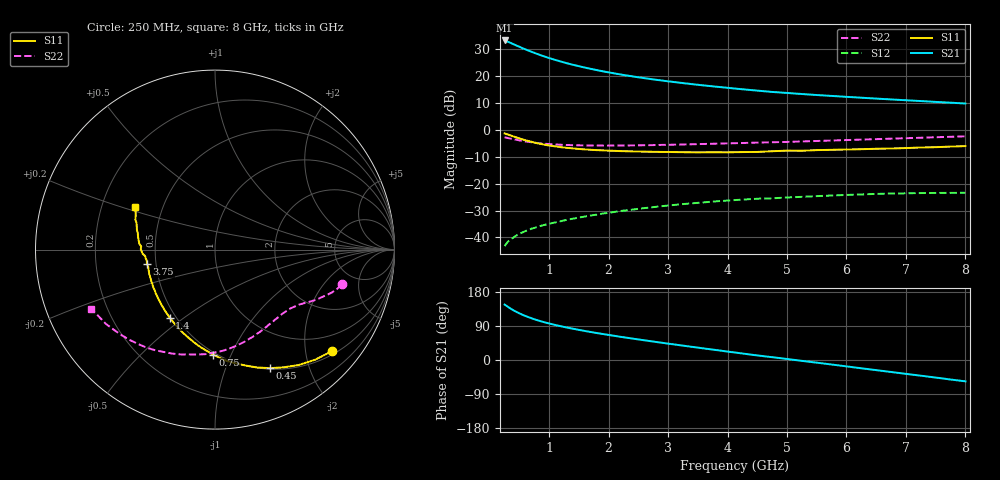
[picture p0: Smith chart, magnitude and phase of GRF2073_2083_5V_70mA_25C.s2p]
! Data measured by Modelithics, Inc.
! support@modelithics.com 813-866-6335 Tampa FL USA
# GHZ S MA R 50
! Scattering Parameters
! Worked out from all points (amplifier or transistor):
!   55 points, 250 MHz to 8 GHz, reference 50 ohm
!   highest |S21| = 33.4 dB at 250 MHz (marker M1)
!   |S21| within 3 dB of that: start of sweep to 565.4 MHz
!   unconditionally stable (mu >= 1): 3.401 GHz to 3.744 GHz; 4.05 GHz to 4.842 GHz
!   at 700 MHz: K = 0.62, MSG = 33.0 dB, |S12| = -36.7 dB
!   at 2.2 GHz: K = 0.96, MSG = 25.4 dB, |S12| = -30.1 dB
!   at 8 GHz: K = 0.76, MSG = 16.6 dB, |S12| = -23.3 dB
!   lowest NFmin = 0.02 dB at 250 MHz
!   S11 on the Smith chart (normalised r, x): 250 MHz: 0.58, -2.57; 450 MHz: 0.51, -1.44; 750 MHz: 0.48, -0.86; 1.4 GHz: 0.46, -0.44; 3.75 GHz: 0.45, -0.08; 8 GHz: 0.35, +0.22
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0.25  0.8639 -40.8  46.59 146.4  0.00689 64.7  0.7319 -15.3
0.3  0.8296 -47.6  44.29 140.8  0.00825 66.2  0.7139 -18.0
0.35  0.7949 -54.0  42 135.7  0.00921 63.0  0.6929 -20.2
0.4  0.759 -59.8  39.67 130.9  0.01 61.4  0.6728 -22.1
0.45  0.7287 -65.0  37.44 127.0  0.01093 60.1  0.6583 -23.3
0.55  0.67 -74.9  33.5 119.4  0.01239 57.4  0.6275 -26.5
0.6  0.6466 -79.3  31.86 116.1  0.01317 57.3  0.6143 -27.7
0.65  0.6256 -83.5  30.21 113.1  0.01376 55.8  0.6029 -28.7
0.75  0.5851 -91.0  27.38 107.5  0.01505 54.7  0.5823 -30.7
0.9  0.5401 -100.4  23.83 100.4  0.01693 52.9  0.5592 -33.3
1  0.5157 -106.0  21.89 96.4  0.01808 52.1  0.5491 -35.0
1.2  0.4798 -115.8  18.81 89.0  0.02014 50.2  0.5322 -38.2
1.4  0.455 -123.7  16.42 82.5  0.02243 49.6  0.523 -41.4
1.6  0.4368 -130.5  14.57 76.6  0.02455 48.4  0.5169 -44.6
1.9  0.4191 -138.8  12.43 68.7  0.02789 45.9  0.5143 -49.4
2.2  0.4056 -145.8  10.84 61.2  0.03112 43.2  0.5147 -54.5
2.9  0.3911 -157.9  8.349 45.4  0.03835 36.7  0.5296 -66.7
3.75  0.3868 -168.1  6.512 27.5  0.04654 27.3  0.5561 -81.2
4.25  0.3892 -173.2  5.752 17.2  0.05069 21.6  0.5738 -90.4
5.5  0.4233 175.5  4.49 -7.0  0.05887 7.0  0.6261 -112.2
6.75  0.4536 163.9  3.719 -31.6  0.06576 -8.7  0.6914 -133.1
8  0.5026 152.1  3.121 -56.3  0.06808 -24.6  0.7649 -154.5
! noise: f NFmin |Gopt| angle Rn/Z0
0.25  0.01628  0.2455  20.53  0.05091
0.55  0.03797  0.2563  37.42  0.045
0.85  0.06033  0.2671  53.6  0.03976
1.3  0.09513  0.2832  76.53  0.03313
1.9  0.1439  0.3048  104.6  0.02662
2.5  0.1953  0.3264  129.8  0.02276
3.25  0.2634  0.3533  157.4  0.02166
4.75  0.4123  0.4073  -160.9  0.03192
6.5  0.6071  0.4702  -134.7  0.06485
8  0.7924  0.5241  -131.6  0.111
